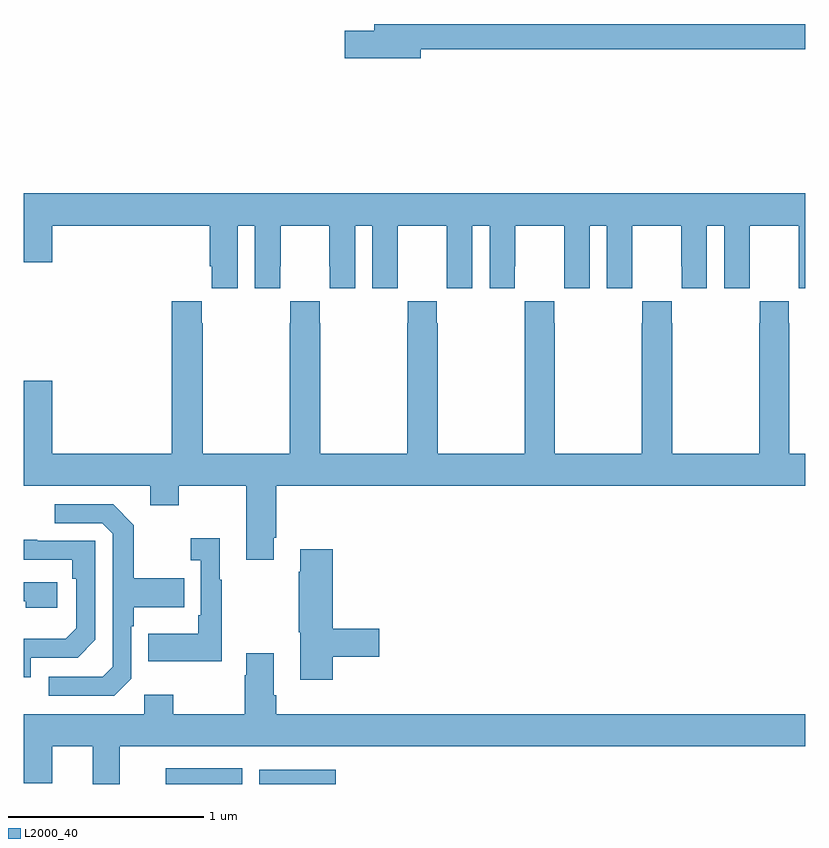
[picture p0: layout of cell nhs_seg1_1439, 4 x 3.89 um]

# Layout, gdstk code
import gdstk
lib = gdstk.Library(unit=1e-6, precision=1e-09)
def R(c, l, rs):  # rectangles x0, y0, x1, y1
    for r in rs: c.add(gdstk.rectangle(r[:2], r[2:], *l))
def P(c, l, *ps):  # polygons
    for p in ps: c.add(gdstk.Polygon(p, *l))
L2000_40 = (2000, 40)

nhs_seg1_1439 = lib.new_cell('nhs_seg1_1439')
R(nhs_seg1_1439, L2000_40, [(189.728,558.199,190.12,558.28), (190.205,558.199,190.597,558.271)])
P(nhs_seg1_1439, L2000_40, [(191.032,561.958),(193,561.958),(193,562.087),(190.793,562.087),(190.793,562.053),(190.644,562.053),(190.644,561.911),(191.032,561.911)],
  [(190.096,561.056),(190.184,561.056),(190.184,560.736),(190.314,560.736),(190.314,560.848),(190.315,560.848),(190.315,561.056),(190.565,561.056),(190.565,560.848),(190.566,560.848),(190.566,560.736),(190.696,560.736),(190.696,561.056),(190.784,561.056),(190.784,560.736),(190.914,560.736),(190.914,560.848),(190.915,560.848),(190.915,561.056),(191.165,561.056),(191.165,560.848),(191.166,560.848),(191.166,560.736),(191.296,560.736),(191.296,561.056),(191.384,561.056),(191.384,560.736),(191.514,560.736),(191.514,560.848),(191.515,560.848),(191.515,561.056),(191.765,561.056),(191.765,560.848),(191.766,560.848),(191.766,560.736),(191.896,560.736),(191.896,561.056),(191.984,561.056),(191.984,560.736),(192.114,560.736),(192.114,560.848),(192.115,560.848),(192.115,561.056),(192.365,561.056),(192.365,560.848),(192.366,560.848),(192.366,560.736),(192.496,560.736),(192.496,561.056),(192.584,561.056),(192.584,560.736),(192.714,560.736),(192.714,560.848),(192.715,560.848),(192.715,561.056),(192.965,561.056),(192.965,560.848),(192.966,560.848),(192.966,560.736),(193,560.736),(193,561.22),(189,561.22),(189,560.868),(189.148,560.868),(189.148,561.056),(189.953,561.056),(189.953,560.848),(189.962,560.848),(189.962,560.736),(190.096,560.736)],
  [(190.279,559.459),(190.292,559.459),(190.292,559.724),(193,559.724),(193,559.888),(192.918,559.888),(192.918,560.555),(192.915,560.555),(192.915,560.668),(192.765,560.668),(192.765,560.555),(192.763,560.555),(192.763,559.888),(192.318,559.888),(192.318,560.555),(192.315,560.555),(192.315,560.668),(192.165,560.668),(192.165,560.555),(192.163,560.555),(192.163,559.888),(191.718,559.888),(191.718,560.555),(191.715,560.555),(191.715,560.668),(191.565,560.668),(191.565,560.555),(191.563,560.555),(191.563,559.888),(191.118,559.888),(191.118,560.555),(191.115,560.555),(191.115,560.668),(190.965,560.668),(190.965,560.555),(190.963,560.555),(190.963,559.888),(190.518,559.888),(190.518,560.555),(190.515,560.555),(190.515,560.668),(190.365,560.668),(190.365,560.555),(190.363,560.555),(190.363,559.888),(189.918,559.888),(189.918,560.555),(189.911,560.555),(189.911,560.668),(189.758,560.668),(189.758,559.888),(189.148,559.888),(189.148,560.263),(189,560.263),(189,559.724),(189.647,559.724),(189.647,559.625),(189.795,559.625),(189.795,559.724),(190.139,559.724),(190.139,559.347),(190.279,559.347)],
  [(189.552,558.738),(189.552,559.007),(189.565,559.007),(189.565,559.103),(189.821,559.103),(189.821,559.251),(189.565,559.251),(189.565,559.523),(189.459,559.629),(189.159,559.629),(189.159,559.533),(189.402,559.533),(189.456,559.479),(189.456,558.798),(189.405,558.747),(189.129,558.747),(189.129,558.651),(189.465,558.651)],
  [(190.015,559.243),(190.003,559.243),(190.003,559.456),(189.855,559.456),(189.855,559.343),(189.906,559.343),(189.906,559.063),(189.894,559.063),(189.894,558.967),(189.637,558.967),(189.637,558.827),(190.015,558.827)],
  [(189.036,558.846),(189.276,558.846),(189.366,558.936),(189.366,559.443),(189.071,559.443),(189.071,559.448),(189,559.448),(189,559.347),(189.25,559.347),(189.25,559.25),(189.27,559.25),(189.27,558.996),(189.217,558.943),(189,558.943),(189,558.744),(189.036,558.744)],
  [(190.583,558.85),(190.819,558.85),(190.819,558.992),(190.583,558.992),(190.583,559.399),(190.415,559.399),(190.415,559.286),(190.408,559.286),(190.408,558.975),(190.415,558.975),(190.415,558.732),(190.583,558.732)],
  [(189.172,559.23),(189,559.23),(189,559.134),(189.011,559.134),(189.011,559.1),(189.172,559.1)],
  [(189.493,558.392),(193,558.392),(193,558.556),(190.292,558.556),(190.292,558.652),(190.279,558.652),(190.279,558.868),(190.139,558.868),(190.139,558.755),(190.132,558.755),(190.132,558.556),(189.765,558.556),(189.765,558.655),(189.618,558.655),(189.618,558.556),(189,558.556),(189,558.204),(189.148,558.204),(189.148,558.392),(189.353,558.392),(189.353,558.199),(189.493,558.199)])

lib.write_gds('nhs_seg1_1439.gds')
